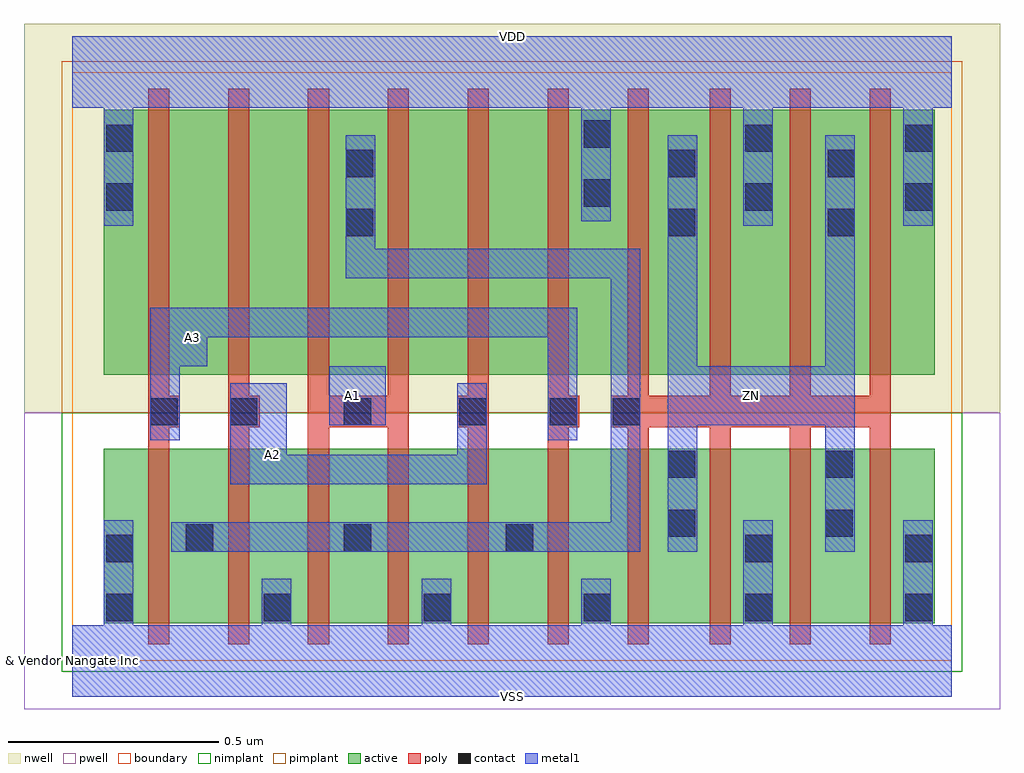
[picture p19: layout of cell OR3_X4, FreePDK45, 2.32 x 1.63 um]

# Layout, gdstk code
import gdstk
lib = gdstk.Library(unit=1e-6, precision=1e-10)
def R(c, l, rs):  # rectangles x0, y0, x1, y1
    for r in rs: c.add(gdstk.rectangle(r[:2], r[2:], *l))
def A(c, l, x, y, w, h, nx, ny, dx, dy):  # array of equal rectangles
    R(c, l, [(x+i*dx, y+j*dy, x+i*dx+w, y+j*dy+h) for i in range(nx) for j in range(ny)])
def P(c, l, *ps):  # polygons
    for p in ps: c.add(gdstk.Polygon(p, *l))
active = (1, 0)
pwell = (2, 0)
nwell = (3, 0)
nimplant = (4, 0)
pimplant = (5, 0)
poly = (9, 0)
contact = (10, 0)
metal1 = (11, 0)
boundary = (235, 0)

or3_x4 = lib.new_cell('OR3_X4')
R(or3_x4, active, [(0.075,0.09,2.05,0.505), (0.075,0.68,2.05,1.31)])
R(or3_x4, pwell, [(-0.115,-0.115,2.205,0.59)])
R(or3_x4, nwell, [(-0.115,0.59,2.205,1.515)])
R(or3_x4, nimplant, [(-0.025,-0.025,2.115,0.59)])
R(or3_x4, pimplant, [(-0.025,0.59,2.115,1.425)])
P(or3_x4, poly, [(0.18,0.04),(0.18,1.36),(0.23,1.36),(0.23,0.63),(0.255,0.63),(0.255,0.555),(0.23,0.555),(0.23,0.04)],
  [(0.37,0.04),(0.37,1.36),(0.42,1.36),(0.42,0.63),(0.445,0.63),(0.445,0.555),(0.42,0.555),(0.42,0.04)],
  [(0.56,0.04),(0.56,1.36),(0.61,1.36),(0.61,0.63),(0.75,0.63),(0.75,1.36),(0.8,1.36),(0.8,0.04),(0.75,0.04),(0.75,0.555),(0.61,0.555),(0.61,0.04)],
  [(0.94,0.04),(0.94,0.555),(0.915,0.555),(0.915,0.63),(0.94,0.63),(0.94,1.36),(0.99,1.36),(0.99,0.04)],
  [(1.13,0.04),(1.13,1.36),(1.18,1.36),(1.18,0.63),(1.205,0.63),(1.205,0.555),(1.18,0.555),(1.18,0.04)],
  [(1.32,0.04),(1.32,0.555),(1.28,0.555),(1.28,0.63),(1.32,0.63),(1.32,1.36),(1.37,1.36),(1.37,0.63),(1.515,0.63),(1.515,1.36),(1.565,1.36),(1.565,0.63),(1.705,0.63),(1.705,1.36),(1.755,1.36),(1.755,0.63),(1.895,0.63),(1.895,1.36),(1.945,1.36),(1.945,0.04),(1.895,0.04),(1.895,0.555),(1.755,0.555),(1.755,0.04),(1.705,0.04),(1.705,0.555),(1.565,0.555),(1.565,0.04),(1.515,0.04),(1.515,0.555),(1.37,0.555),(1.37,0.04)])
A(or3_x4, contact, 0.455, 0.095, 0.065, 0.065, 3, 1, 0.38, 0)
R(or3_x4, contact, [(0.08,0.095,0.145,0.16), (1.6,0.095,1.665,0.16), (1.98,0.095,2.045,0.16), (0.08,0.235,0.145,0.3), (1.6,0.235,1.665,0.3), (1.98,0.235,2.045,0.3), (0.27,0.26,0.335,0.325), (0.645,0.26,0.71,0.325), (1.03,0.26,1.095,0.325), (1.415,0.295,1.48,0.36), (1.79,0.295,1.855,0.36), (1.415,0.435,1.48,0.5), (1.79,0.435,1.855,0.5), (0.185,0.56,0.25,0.625), (0.375,0.56,0.44,0.625), (0.645,0.56,0.71,0.625), (0.92,0.56,0.985,0.625), (1.135,0.56,1.2,0.625), (1.285,0.56,1.35,0.625), (0.65,1.01,0.715,1.075), (1.415,1.01,1.48,1.075), (1.795,1.01,1.86,1.075), (0.08,1.07,0.145,1.135), (1.6,1.07,1.665,1.135), (1.98,1.07,2.045,1.135), (1.215,1.08,1.28,1.145), (0.65,1.15,0.715,1.215), (1.415,1.15,1.48,1.215), (1.795,1.15,1.86,1.215), (0.08,1.21,0.145,1.275), (1.6,1.21,1.665,1.275), (1.98,1.21,2.045,1.275), (1.215,1.22,1.28,1.285)])
R(or3_x4, metal1, [(0.61,0.56,0.745,0.7)])
P(or3_x4, metal1, [(0.375,0.42),(0.375,0.66),(0.51,0.66),(0.51,0.49),(0.915,0.49),(0.915,0.66),(0.985,0.66),(0.985,0.42)],
  [(0.185,0.525),(0.185,0.84),(1.2,0.84),(1.2,0.525),(1.13,0.525),(1.13,0.77),(0.32,0.77),(0.32,0.7),(0.255,0.7),(0.255,0.525)],
  [(0.235,0.26),(0.235,0.33),(1.28,0.33),(1.28,0.91),(0.65,0.91),(0.65,1.25),(0.72,1.25),(0.72,0.98),(1.35,0.98),(1.35,0.26)],
  [(1.415,0.26),(1.415,1.25),(1.485,1.25),(1.485,0.7),(1.79,0.7),(1.79,1.25),(1.86,1.25),(1.86,0.26),(1.79,0.26),(1.79,0.56),(1.485,0.56),(1.485,0.26)],
  [(0,-0.085),(0,0.085),(0.075,0.085),(0.075,0.335),(0.145,0.335),(0.145,0.085),(0.45,0.085),(0.45,0.195),(0.52,0.195),(0.52,0.085),(0.83,0.085),(0.83,0.195),(0.9,0.195),(0.9,0.085),(1.21,0.085),(1.21,0.195),(1.28,0.195),(1.28,0.085),(1.595,0.085),(1.595,0.335),(1.665,0.335),(1.665,0.085),(1.975,0.085),(1.975,0.335),(2.045,0.335),(2.045,0.085),(2.09,0.085),(2.09,-0.085)],
  [(0.075,1.035),(0.075,1.315),(0,1.315),(0,1.485),(2.09,1.485),(2.09,1.315),(2.045,1.315),(2.045,1.035),(1.975,1.035),(1.975,1.315),(1.665,1.315),(1.665,1.035),(1.595,1.035),(1.595,1.315),(1.28,1.315),(1.28,1.045),(1.21,1.045),(1.21,1.315),(0.145,1.315),(0.145,1.035)])
R(or3_x4, boundary, [(0,0,2.09,1.4)])
or3_x4.add(gdstk.Label('A1', (0.665,0.63), layer=11, texttype=0))
or3_x4.add(gdstk.Label('A2', (0.475,0.49), layer=11, texttype=0))
or3_x4.add(gdstk.Label('A3', (0.285,0.77), layer=11, texttype=0))
or3_x4.add(gdstk.Label('VDD', (1.045,1.485), layer=11, texttype=0))
or3_x4.add(gdstk.Label('VSS', (1.045,-0.085), layer=11, texttype=0))
or3_x4.add(gdstk.Label('ZN', (1.615,0.63), layer=11, texttype=0))
or3_x4.add(gdstk.Label('& Vendor Nangate Inc', (0,0), layer=63, texttype=63))
or3_x4.add(gdstk.Label('& Product Open Cell Library', (0,0), layer=63, texttype=63))
or3_x4.add(gdstk.Label('& Version 2010_12', (0,0), layer=63, texttype=63))
or3_x4.add(gdstk.Label('& Instance OR3_X4', (0,0), layer=63, texttype=63))

lib.write_gds('OR3_X4.gds')
